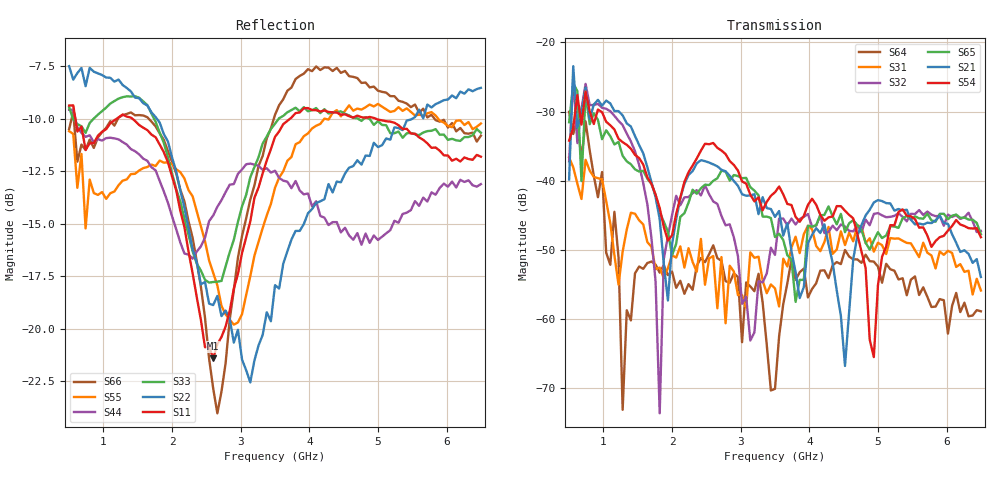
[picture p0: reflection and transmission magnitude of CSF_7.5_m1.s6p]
!Keysight Technologies,M9804A,MY58100912,A.14.10.03
!Date: Thursday, April 27, 2023 10:28:33
!Correction: S11(C  6-Port  )
!S12(C  6-Port  )
!S13(C  6-Port  )
!S14(C  6-Port  )
!S15(C  6-Port  )
!S16(C  6-Port  )
!S21(C  6-Port  )
!S22(C  6-Port  )
!S23(C  6-Port  )
!S24(C  6-Port  )
!S25(C  6-Port  )
!S26(C  6-Port  )
!S31(C  6-Port  )
!S32(C  6-Port  )
!S33(C  6-Port  )
!S34(C  6-Port  )
!S35(C  6-Port  )
!S36(C  6-Port  )
!S41(C  6-Port  )
!S42(C  6-Port  )
!S43(C  6-Port  )
!S44(C  6-Port  )
!S45(C  6-Port  )
!S46(C  6-Port  )
!S51(C  6-Port  )
!S52(C  6-Port  )
!S53(C  6-Port  )
!S54(C  6-Port  )
!S55(C  6-Port  )
!S56(C  6-Port  )
!S61(C  6-Port  )
!S62(C  6-Port  )
!S63(C  6-Port  )
!S64(C  6-Port  )
!S65(C  6-Port  )
!S66(C  6-Port  )
!S6P File: Measurement: :
# Hz S  RI  R 50
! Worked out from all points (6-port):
!   101 points, 500 MHz to 6.5 GHz, reference 50 ohm
!   strongest paths, dB at 500 MHz, 2 GHz, 3.5 GHz, 5 GHz, 6.5 GHz:
!     S54: -34.2, -47.9, -41.6, -55.1, -48.1
!     S21: -39.8, -49.2, -45.2, -42.8, -53.9
!     S65: -31.5, -50.8, -48.1, -47.4, -47.7
!     S32: -37.2, -45.0, -50.7, -44.7, -47.2
!     S31: -36.6, -50.7, -55.5, -48.9, -55.8
!     S64: -30.0, -53.1, -70.1, -52.4, -58.8
!   lowest |S11| = -21.4 dB at 2.6 GHz (marker M1), VSWR 1.19, Z = 42.5 + j2.23 ohm
!   |S11| at or under -10 dB: 591.1 MHz to 1.189 GHz (597.8 MHz wide, 67.2 % of centre); 1.424 GHz to 3.716 GHz (2.292 GHz wide, 89.2 % of centre); 4.975 GHz to end of sweep
